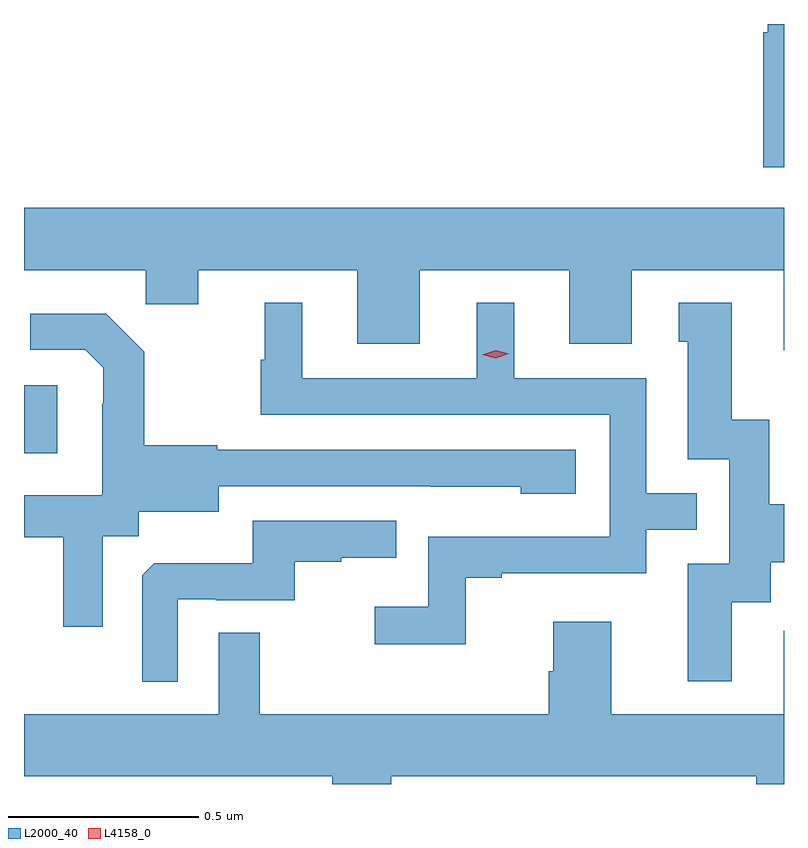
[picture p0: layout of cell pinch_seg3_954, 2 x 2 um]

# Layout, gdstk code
import gdstk
lib = gdstk.Library(unit=1e-6, precision=1e-09)
def R(c, l, rs):  # rectangles x0, y0, x1, y1
    for r in rs: c.add(gdstk.rectangle(r[:2], r[2:], *l))
def P(c, l, *ps):  # polygons
    for p in ps: c.add(gdstk.Polygon(p, *l))
L2000_40 = (2000, 40)
L4158_0 = (4158, 0)

pinch_seg3_954 = lib.new_cell('pinch_seg3_954')
R(pinch_seg3_954, L2000_40, [(579.472,737.73,579.559,737.91)])
P(pinch_seg3_954, L2000_40, [(581.472,738.86),(581.429,738.86),(581.429,738.838),(581.417,738.838),(581.417,738.483),(581.472,738.483)],
  [(581.472,738.376),(579.472,738.376),(579.472,738.212),(579.793,738.212),(579.793,738.122),(579.931,738.122),(579.931,738.212),(580.349,738.212),(580.349,738.018),(580.513,738.018),(580.513,738.212),(580.907,738.212),(580.907,738.018),(581.071,738.018),(581.071,738.212),(581.471,738.212),(581.471,738.001),(581.472,738.001)],
  [(581.335,737.338),(581.437,737.338),(581.437,737.444),(581.472,737.444),(581.472,737.596),(581.433,737.596),(581.433,737.819),(581.335,737.819),(581.335,738.127),(581.195,738.127),(581.195,738.024),(581.219,738.024),(581.219,737.715),(581.328,737.715),(581.328,737.439),(581.219,737.439),(581.219,737.13),(581.335,737.13)],
  [(580.635,737.403),(580.729,737.403),(580.729,737.415),(581.109,737.415),(581.109,737.529),(581.243,737.529),(581.243,737.625),(581.109,737.625),(581.109,737.928),(580.762,737.928),(580.762,738.127),(580.664,738.127),(580.664,737.928),(580.204,737.928),(580.204,738.127),(580.106,738.127),(580.106,737.976),(580.095,737.976),(580.095,737.832),(581.013,737.832),(581.013,737.511),(580.536,737.511),(580.536,737.326),(580.395,737.326),(580.395,737.228),(580.635,737.228)],
  [(579.679,737.512),(579.774,737.512),(579.774,737.576),(579.985,737.576),(579.985,737.643),(580.543,737.643),(580.543,737.642),(580.779,737.642),(580.779,737.624),(580.924,737.624),(580.924,737.739),(579.981,737.739),(579.981,737.752),(579.789,737.752),(579.789,737.997),(579.689,738.097),(579.489,738.097),(579.489,738.003),(579.633,738.003),(579.68,737.956),(579.68,737.861),(579.678,737.861),(579.678,737.62),(579.472,737.62),(579.472,737.51),(579.575,737.51),(579.575,737.274),(579.679,737.274)],
  [(579.876,737.346),(579.976,737.346),(579.976,737.343),(580.184,737.343),(580.184,737.445),(580.307,737.445),(580.307,737.456),(580.451,737.456),(580.451,737.553),(580.074,737.553),(580.074,737.441),(579.815,737.441),(579.783,737.409),(579.783,737.129),(579.876,737.129)],
  [(580.439,736.88),(581.399,736.88),(581.399,736.86),(581.472,736.86),(581.472,737.263),(581.471,737.263),(581.471,737.044),(581.017,737.044),(581.017,737.287),(580.865,737.287),(580.865,737.157),(580.853,737.157),(580.853,737.044),(580.093,737.044),(580.093,737.258),(579.984,737.258),(579.984,737.044),(579.472,737.044),(579.472,736.88),(580.283,736.88),(580.283,736.86),(580.439,736.86)])
P(pinch_seg3_954, L4158_0, [(580.713,737.981),(580.678,737.989),(580.677,737.989),(580.678,737.99),(580.713,738.001),(580.748,737.992),(580.749,737.992),(580.748,737.992)])

lib.write_gds('pinch_seg3_954.gds')
